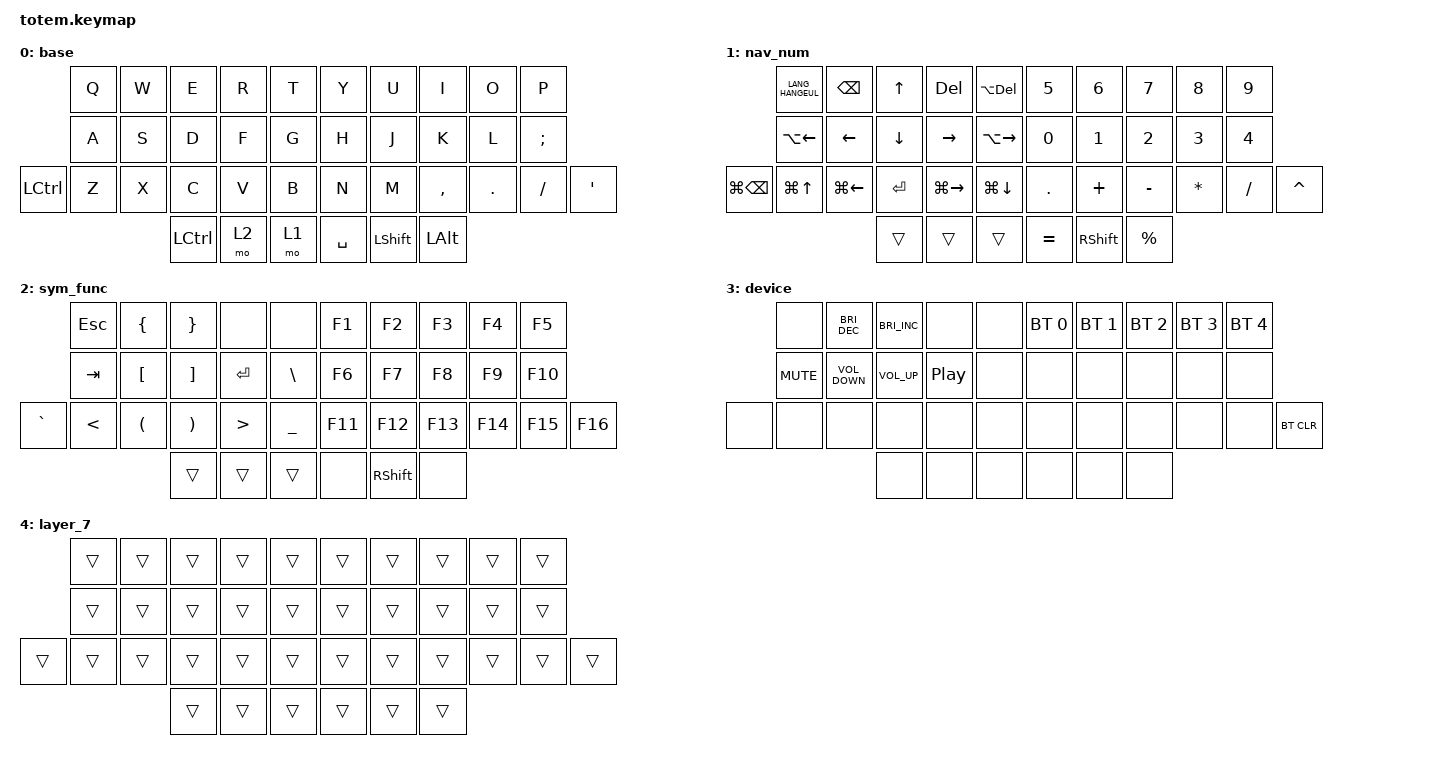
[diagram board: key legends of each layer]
//
//                                                        ▀▀▀▀▀     ▀▀▀▀▀          ▀▀█▀▀
//                                                        ▄▀▀▀▄  ▄  ▄▀▀▀▄  ▄  ▄▀▀▀▄  █  ▄▀▀▀▄
//                                                        █   █  █  █   █  █  █   █  █  █   █
//                                                         ▀▀▀   █   ▀▀▀   █   ▀▀▀   ▀   ▀▀▀
//                                                               █      ▄▄▄█▄▄▄    █   █  
//                                                               ▀      █  █  █     █▄█
//                                                             ▀▀▀▀▀    █  █  █      ▀
//                                                                      ▀  ▀  ▀
//
// ▄▄▄▄▄▄▄▄▄▄▄▄▄▄▄▄▄▄▄▄▄▄▄▄▄▄▄▄▄▄▄▄▄▄▄▄▄▄▄▄▄▄▄▄▄▄▄▄▄▄▄▄▄▄▄▄▄▄▄▄▄▄▄▄▄▄▄▄▄▄▄▄▄▄▄▄▄▄▄▄▄▄▄▄▄▄▄▄▄▄▄▄▄▄▄▄▄▄▄▄▄▄▄▄▄▄▄▄▄▄▄▄▄▄▄▄▄▄▄▄▄▄▄▄▄▄▄▄▄▄▄▄▄▄▄▄▄▄▄▄▄▄▄▄▄▄▄▄▄

#include <behaviors.dtsi>
#include <dt-bindings/zmk/bt.h>
#include <dt-bindings/zmk/keys.h>

/ {
    keymap {
        compatible = "zmk,keymap";

        base {
            bindings = <
           &kp Q  &kp W  &kp E             &kp R  &kp T    &kp Y      &kp U      &kp I         &kp O    &kp P
           &kp A  &kp S  &kp D             &kp F  &kp G    &kp H      &kp J      &kp K         &kp L    &kp SEMI
&kp LCTRL  &kp Z  &kp X  &kp C             &kp V  &kp B    &kp N      &kp M      &kp COMMA     &kp DOT  &kp FSLH  &kp APOS
                         &kp LEFT_CONTROL  &mo 2  &mo 1    &kp SPACE  &kp LSHFT  &kp LEFT_ALT
            >;
        };

        nav_num {
            bindings = <
                   &kp LANG_HANGEUL    &kp BACKSPACE  &kp UP     &kp DELETE     &kp LA(DELETE)        &kp N5      &kp N6           &kp N7       &kp N8    &kp N9
                   &kp LA(LEFT_ARROW)  &kp LEFT       &kp DOWN   &kp RIGHT      &kp LA(RIGHT)         &kp N0      &kp N1           &kp N2       &kp N3    &kp N4
&kp LG(BACKSPACE)  &kp LG(UP_ARROW)    &kp LG(LEFT)   &kp ENTER  &kp LG(RIGHT)  &kp LG(DOWN_ARROW)    &kp PERIOD  &kp PLUS         &kp MINUS    &kp STAR  &kp FSLH  &kp CARET
                                                      &trans     &trans         &trans                &kp EQUAL   &kp RIGHT_SHIFT  &kp PERCENT
            >;
        };

        sym_func {
            bindings = <
           &kp ESC        &kp LEFT_BRACE        &kp RIGHT_BRACE        &none             &none             &kp F1   &kp F2           &kp F3   &kp F4   &kp F5
           &kp TAB        &kp LBKT              &kp RBKT               &kp ENTER         &kp BSLH          &kp F6   &kp F7           &kp F8   &kp F9   &kp F10
&kp GRAVE  &kp LESS_THAN  &kp LEFT_PARENTHESIS  &kp RIGHT_PARENTHESIS  &kp GREATER_THAN  &kp UNDERSCORE    &kp F11  &kp F12          &kp F13  &kp F14  &kp F15  &kp F16
                                                &trans                 &trans            &trans            &none    &kp RIGHT_SHIFT  &none
            >;
        };

        device {
            bindings = <
       &none       &kp C_BRIGHTNESS_DEC  &kp C_BRIGHTNESS_INC  &none             &none    &bt BT_SEL 0  &bt BT_SEL 1  &bt BT_SEL 2  &bt BT_SEL 3  &bt BT_SEL 4
       &kp K_MUTE  &kp C_VOLUME_DOWN     &kp C_VOLUME_UP       &kp C_PLAY_PAUSE  &none    &none         &none         &none         &none         &none
&none  &none       &none                 &none                 &none             &none    &none         &none         &none         &none         &none         &bt BT_CLR
                                         &none                 &none             &none    &none         &none         &none
            >;
        };

        extra1 { status = "reserved"; };

        extra2 { status = "reserved"; };

        extra3 { status = "reserved"; };

        layer_7 {
            bindings = <
        &trans  &trans  &trans  &trans  &trans    &trans  &trans  &trans  &trans  &trans
        &trans  &trans  &trans  &trans  &trans    &trans  &trans  &trans  &trans  &trans
&trans  &trans  &trans  &trans  &trans  &trans    &trans  &trans  &trans  &trans  &trans  &trans
                        &trans  &trans  &trans    &trans  &trans  &trans
            >;
        };
    };

    conditional_layers {
        compatible = "zmk,conditional-layers";

        device {
            if-layers = <1 2>;
            then-layer = <3>;
        };
    };
};
